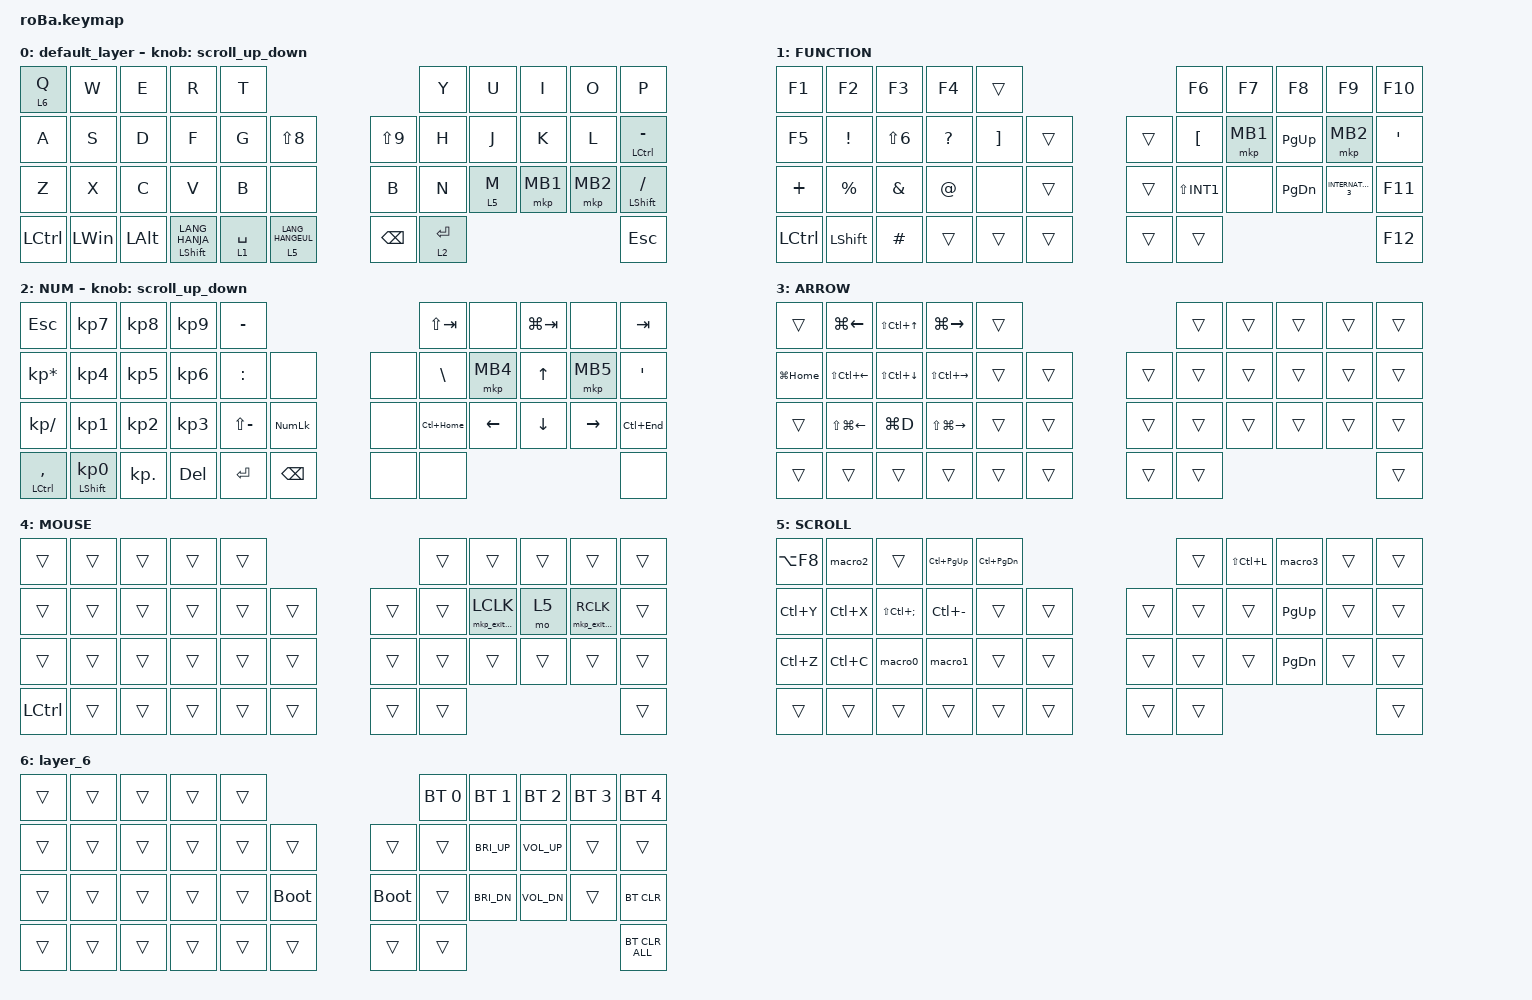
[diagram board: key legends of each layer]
#include <behaviors.dtsi>
#include <dt-bindings/zmk/bt.h>
#include <dt-bindings/zmk/keys.h>
#include <dt-bindings/zmk/pointing.h>

#define ZMK_POINTING_DEFAULT_SCRL_VAL 100

&mt {
    flavor = "balanced";
    quick-tap-ms = <0>;
};

&sl { release-after-ms = <250>; }; // ダブルクリックに必要な時間を設定
&trackball {
    //automouse-layer = <4>;

    scroll-layers = <5>;

    // arrows {
    //     layers = <3>;
    //     bindings =
    //         <&kp RIGHT_ARROW>,
    //         <&kp LEFT_ARROW>,
    //         <&kp UP_ARROW>,
    //         <&kp DOWN_ARROW>;
    //     tick = <10>;
    //     wait-ms = <5>;
    //     tap-ms = <5>;
    // };
};

/ {
    combos {
        compatible = "zmk,combos";

        Tab {
            bindings = <&kp TAB>;
            key-positions = <7 8>;
        };

        shift+tab {
            bindings = <&kp LS(TAB)>;
            key-positions = <6 7 8>;
        };

        alt+ctrl+del {
            bindings = <&kp LA(LC(DELETE))>;
            key-positions = <9 41>;
        };

        screen_shot {
            bindings = <&kp LS(LG(S))>;
            key-positions = <3 4 2>;
        };

        layer3 {
            bindings = <&sl 3>;
            key-positions = <19 20>;
        };

        left_click {
            bindings = <&mkp LCLK>;
            key-positions = <18 19>;
        };

        right_click {
            bindings = <&mkp RCLK>;
            key-positions = <18 20>;
        };

        comma {
            bindings = <&kp COMMA>;
            key-positions = <30 31>;
        };

        dot {
            bindings = <&kp DOT>;
            key-positions = <31 32>;
        };
    };

    macros {
        to_layer_0: to_layer_0 {
            compatible = "zmk,behavior-macro-one-param";
            #binding-cells = <1>;
            bindings = <&to 0 &macro_param_1to1 &kp MACRO_PLACEHOLDER>;
            label = "TO_LAYER_0";
        };

        macro0: macro0 {
            compatible = "zmk,behavior-macro";
            #binding-cells = <0>;
            bindings = <&kp LA(RC(V)) &kp V &kp ENTER>;
            label = "MACRO0";
        };

        macro1: macro1 {
            compatible = "zmk,behavior-macro";
            #binding-cells = <0>;
            bindings = <&kp LA(H) &kp M &kp C &kp ENTER>;
            label = "MACRO1";
        };

        macro2: macro2 {
            compatible = "zmk,behavior-macro";
            #binding-cells = <0>;
            bindings = <&kp LC(G) &kp LA(S) &kp K &kp ENTER>;
            label = "MACRO2";
        };

        macro3: macro3 {
            compatible = "zmk,behavior-macro";
            #binding-cells = <0>;
            bindings = <&kp LEFT_ALT &kp D &kp F &kp S>;
            label = "MACRO3";
        };

        mkp_exit_AML: mkp_exit_AML {
            compatible = "zmk,behavior-macro-one-param";
            #binding-cells = <1>;
            bindings =
                <&macro_press>,
                <&macro_param_1to1 &mkp MACRO_PLACEHOLDER>,
                <&macro_pause_for_release>,
                <&macro_release>,
                <&macro_param_1to1 &mkp MACRO_PLACEHOLDER>,
                <&macro_tap>,
                <&sl 4>;

            label = "MKP_EXIT_AML";
        };
    };

    behaviors {
        lt_to_layer_0: lt_to_layer_0 {
            compatible = "zmk,behavior-hold-tap";
            label = "LAYER_TAP_TO_0";
            bindings = <&mo>, <&to_layer_0>;

            #binding-cells = <2>;
            tapping-term-ms = <200>;
        };

        // 新しいスクロール動作の追加

        scroll_up_down: behavior_sensor_rotate_mouse_wheel_up_down {
            compatible = "zmk,behavior-sensor-rotate";
            #sensor-binding-cells = <0>;
            bindings = <&msc SCRL_DOWN>, <&msc SCRL_UP>;

            tap-ms = <20>;
        };

        tog_on: toggle_layer_on_only {
            compatible = "zmk,behavior-toggle-layer";
            #binding-cells = <1>;
            display-name = "Toggle Layer On";
            toggle-mode = "on";
        };

        tog_off: toggle_layer_off_only {
            compatible = "zmk,behavior-toggle-layer";
            #binding-cells = <1>;
            display-name = "Toggle Layer Off";
            toggle-mode = "off";
        };
    };

    keymap {
        compatible = "zmk,keymap";

        default_layer {
            bindings = <
&lt 6 Q    &kp W         &kp E         &kp R                      &kp T                                                          &kp Y        &kp U    &kp I     &kp O     &kp P
&kp A      &kp S         &kp D         &kp F                      &kp G        &kp LS(N8)                         &kp LS(N9)     &kp H        &kp J    &kp K     &kp L     &mt LCTRL MINUS
&kp Z      &kp X         &kp C         &kp V                      &kp B        &none                              &kp B          &kp N        &lt 5 M  &mkp MB1  &mkp MB2  &mt LEFT_SHIFT SLASH
&kp LCTRL  &kp LEFT_WIN  &kp LEFT_ALT  &mt LEFT_SHIFT LANG_HANJA  &lt 1 SPACE  &lt_to_layer_0 5 LANG_HANGEUL      &kp BACKSPACE  &lt 2 ENTER                               &kp ESCAPE
            >;

            sensor-bindings = <&scroll_up_down>;
        };

        FUNCTION {
            bindings = <
&kp F1     &kp F2           &kp F3            &kp F4        &trans                                 &kp F6            &kp F7    &kp F8         &kp F9               &kp F10
&kp F5     &kp EXCLAMATION  &kp LS(NUMBER_6)  &kp QUESTION  &kp RIGHT_BRACKET  &trans      &trans  &kp LEFT_BRACKET  &mkp MB1  &kp PAGE_UP    &mkp MB2             &kp SQT
&kp PLUS   &kp PERCENT      &kp AMPERSAND     &kp AT_SIGN   &none              &trans      &trans  &kp LS(INT1)      &none     &kp PAGE_DOWN  &kp INTERNATIONAL_3  &kp F11
&kp LCTRL  &kp LEFT_SHIFT   &kp HASH          &trans        &trans             &trans      &trans  &trans                                                          &kp F12
            >;
        };

        NUM {
            bindings = <
&kp ESCAPE       &kp KP_NUMBER_7             &kp KP_NUMBER_8  &kp KP_NUMBER_9  &kp MINUS                                &kp LS(TAB)    &none           &kp LG(TAB)     &none            &kp TAB
&kp KP_ASTERISK  &kp KP_NUMBER_4             &kp KP_NUMBER_5  &kp KP_NUMBER_6  &kp COLON      &none              &none  &kp BACKSLASH  &mkp MB4        &kp UP_ARROW    &mkp MB5         &kp SQT
&kp KP_DIVIDE    &kp KP_NUMBER_1             &kp KP_NUMBER_2  &kp KP_NUMBER_3  &kp LS(MINUS)  &kp KP_NUM         &none  &kp LC(HOME)   &kp LEFT_ARROW  &kp DOWN_ARROW  &kp RIGHT_ARROW  &kp LC(END)
&mt LCTRL COMMA  &mt LEFT_SHIFT KP_NUMBER_0  &kp KP_DOT       &kp DELETE       &kp ENTER      &kp BACKSPACE      &none  &none                                                           &none
            >;

            sensor-bindings = <&scroll_up_down>;
        };

        ARROW {
            bindings = <
&trans        &kp LG(LEFT_ARROW)      &kp LS(LC(UP_ARROW))    &kp LG(RIGHT_ARROW)      &trans                      &trans  &trans  &trans  &trans  &trans
&kp LG(HOME)  &kp LS(LC(LEFT_ARROW))  &kp LS(LC(DOWN_ARROW))  &kp LS(LC(RIGHT_ARROW))  &trans  &trans      &trans  &trans  &trans  &trans  &trans  &trans
&trans        &kp LS(LG(LEFT_ARROW))  &kp LG(D)               &kp LS(LG(RIGHT_ARROW))  &trans  &trans      &trans  &trans  &trans  &trans  &trans  &trans
&trans        &trans                  &trans                  &trans                   &trans  &trans      &trans  &trans                          &trans
            >;
        };

        MOUSE {
            bindings = <
&trans     &trans  &trans  &trans  &trans                      &trans  &trans              &trans  &trans              &trans
&trans     &trans  &trans  &trans  &trans  &trans      &trans  &trans  &mkp_exit_AML LCLK  &mo 5   &mkp_exit_AML RCLK  &trans
&trans     &trans  &trans  &trans  &trans  &trans      &trans  &trans  &trans              &trans  &trans              &trans
&kp LCTRL  &trans  &trans  &trans  &trans  &trans      &trans  &trans                                                  &trans
            >;
        };

        SCROLL {
            bindings = <
&kp LA(F8)  &macro2    &trans            &kp LC(PAGE_UP)  &kp LC(PAGE_DOWN)                      &trans  &kp LS(LC(L))  &macro3        &trans  &trans
&kp LC(Y)   &kp LC(X)  &kp LS(LC(SEMI))  &kp LC(MINUS)    &trans             &trans      &trans  &trans  &trans         &kp PAGE_UP    &trans  &trans
&kp LC(Z)   &kp LC(C)  &macro0           &macro1          &trans             &trans      &trans  &trans  &trans         &kp PAGE_DOWN  &trans  &trans
&trans      &trans     &trans            &trans           &trans             &trans      &trans  &trans                                        &trans
            >;
        };

        layer_6 {
            bindings = <
&trans  &trans  &trans  &trans  &trans                                &bt BT_SEL 0  &bt BT_SEL 1  &bt BT_SEL 2  &bt BT_SEL 3  &bt BT_SEL 4
&trans  &trans  &trans  &trans  &trans  &trans           &trans       &trans        &kp C_BRI_UP  &kp C_VOL_UP  &trans        &trans
&trans  &trans  &trans  &trans  &trans  &bootloader      &bootloader  &trans        &kp C_BRI_DN  &kp C_VOL_DN  &trans        &bt BT_CLR
&trans  &trans  &trans  &trans  &trans  &trans           &trans       &trans                                                  &bt BT_CLR_ALL
            >;
        };
    };
};
